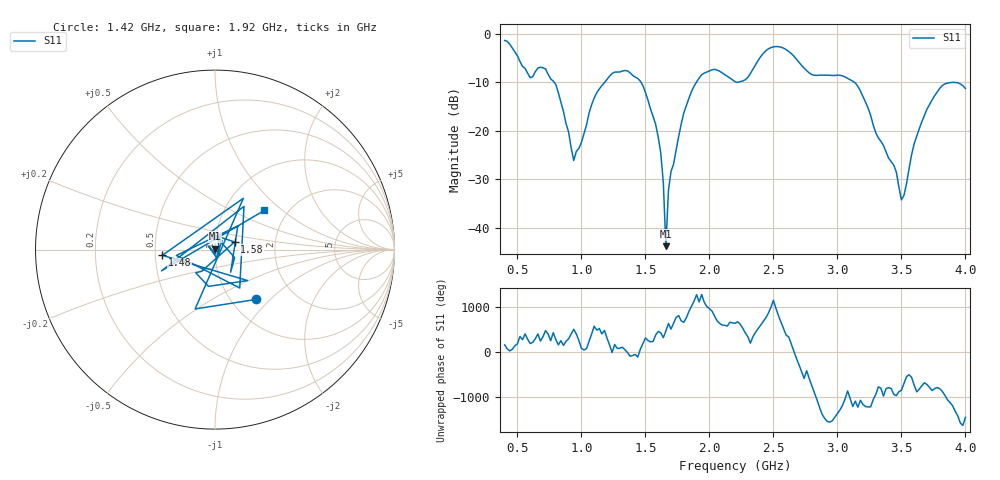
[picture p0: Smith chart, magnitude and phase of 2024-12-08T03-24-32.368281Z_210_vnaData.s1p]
!Created with skrf (http://scikit-rf.org).
# Hz S RI R 50.0
!freq ReS11 ImS11
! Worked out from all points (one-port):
!   181 points, 400 MHz to 4 GHz, reference 50 ohm
!   lowest |S11| = -43.8 dB at 1.66 GHz (marker M1), VSWR 1.01, Z = 49.7 + j0.593 ohm
!   |S11| at or under -10 dB: 788.3 MHz to 1.181 GHz (393 MHz wide, 39.9 % of centre); 1.467 GHz to 1.897 GHz (430.8 MHz wide, 25.6 % of centre); 3.135 GHz to 3.89 GHz (755.2 MHz wide, 21.5 % of centre) (the widest 3 of 4)
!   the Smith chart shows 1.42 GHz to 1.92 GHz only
!   S11 on the Smith chart (normalised r, x): 1.42 GHz: 1.30, -0.83; 1.48 GHz: 0.55, -0.04; 1.58 GHz: 1.24, +0.11; 1.92 GHz: 1.53, +0.76
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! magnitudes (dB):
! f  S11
! 400 MHz  -1.3
! 600 MHz  -9.0
! 720 MHz  -7.2
! 860 MHz  -16.0
! 940 MHz  -26.1
! 1.12 GHz  -12.1
! 1.3 GHz  -7.8
! 1.42 GHz  -8.9
! 1.48 GHz  -10.6
! 1.58 GHz  -18.6
! 1.62 GHz  -24.5
! 1.64 GHz  -30.7
! 1.66 GHz  -43.8
! 1.68 GHz  -32.3
! 1.76 GHz  -21.1
! 1.92 GHz  -9.1
! 2.04 GHz  -7.3
! 2.2 GHz  -9.8
! 2.48 GHz  -2.8
! 2.66 GHz  -4.6
! 2.8 GHz  -8.4
! 3.1 GHz  -9.4
! 3.44 GHz  -27.1
! 3.5 GHz  -34.2
! 3.56 GHz  -27.8
! 3.64 GHz  -19.5
! 3.78 GHz  -11.9
! 4 GHz  -11.2
